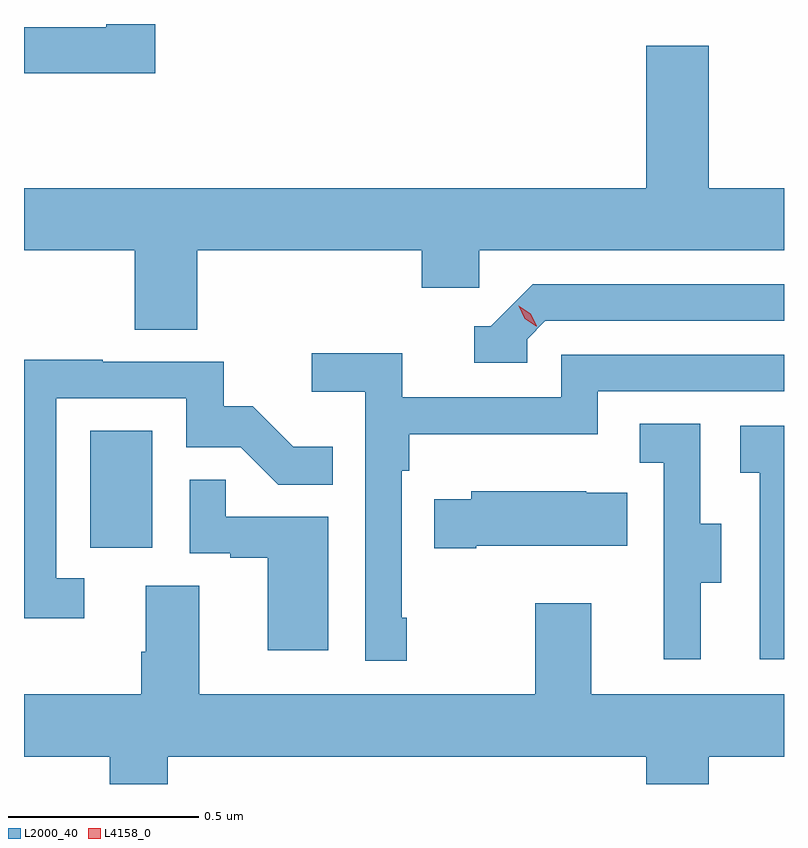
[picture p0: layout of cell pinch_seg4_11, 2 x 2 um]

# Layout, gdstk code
import gdstk
lib = gdstk.Library(unit=1e-6, precision=1e-09)
def R(c, l, rs):  # rectangles x0, y0, x1, y1
    for r in rs: c.add(gdstk.rectangle(r[:2], r[2:], *l))
def P(c, l, *ps):  # polygons
    for p in ps: c.add(gdstk.Polygon(p, *l))
L2000_40 = (2000, 40)
L4158_0 = (4158, 0)

pinch_seg4_11 = lib.new_cell('pinch_seg4_11')
R(pinch_seg4_11, L2000_40, [(1098.608,814.686,1098.772,814.993)])
P(pinch_seg4_11, L2000_40, [(1098.779,816.064),(1098.651,816.064),(1098.651,816.055),(1098.434,816.055),(1098.434,815.934),(1098.779,815.934)],
  [(1098.89,815.468),(1099.481,815.468),(1099.481,815.37),(1099.632,815.37),(1099.632,815.468),(1100.434,815.468),(1100.434,815.632),(1100.236,815.632),(1100.236,816.007),(1100.072,816.007),(1100.072,815.632),(1098.434,815.632),(1098.434,815.468),(1098.725,815.468),(1098.725,815.26),(1098.89,815.26)],
  [(1099.758,815.235),(1099.806,815.283),(1100.434,815.283),(1100.434,815.379),(1099.773,815.379),(1099.662,815.268),(1099.619,815.268),(1099.619,815.172),(1099.758,815.172)],
  [(1099.441,814.501),(1099.428,814.501),(1099.428,814.889),(1099.448,814.889),(1099.448,814.985),(1099.944,814.985),(1099.944,815.097),(1100.434,815.097),(1100.434,815.193),(1099.848,815.193),(1099.848,815.082),(1099.43,815.082),(1099.43,815.198),(1099.191,815.198),(1099.191,815.096),(1099.332,815.096),(1099.332,814.389),(1099.441,814.389)],
  [(1098.592,814.605),(1098.519,814.605),(1098.519,815.079),(1098.861,815.079),(1098.861,814.95),(1099.005,814.95),(1099.103,814.852),(1099.247,814.852),(1099.247,814.951),(1099.143,814.951),(1099.036,815.058),(1098.96,815.058),(1098.96,815.175),(1098.641,815.175),(1098.641,815.18),(1098.434,815.18),(1098.434,814.5),(1098.592,814.5)],
  [(1100.215,814.594),(1100.269,814.594),(1100.269,814.749),(1100.214,814.749),(1100.214,815.012),(1100.055,815.012),(1100.055,814.909),(1100.118,814.909),(1100.118,814.605),(1100.117,814.605),(1100.117,814.392),(1100.215,814.392)],
  [(1100.434,815.007),(1100.319,815.007),(1100.319,814.883),(1100.37,814.883),(1100.37,814.392),(1100.434,814.392)],
  [(1099.234,814.767),(1098.965,814.767),(1098.965,814.865),(1098.87,814.865),(1098.87,814.671),(1098.977,814.671),(1098.977,814.659),(1099.076,814.659),(1099.076,814.416),(1099.234,814.416)],
  [(1099.624,814.691),(1100.021,814.691),(1100.021,814.831),(1099.913,814.831),(1099.913,814.834),(1099.611,814.834),(1099.611,814.813),(1099.513,814.813),(1099.513,814.684),(1099.624,814.684)],
  [(1098.812,814.136),(1100.072,814.136),(1100.072,814.064),(1100.236,814.064),(1100.236,814.136),(1100.434,814.136),(1100.434,814.3),(1099.927,814.3),(1099.927,814.54),(1099.78,814.54),(1099.78,814.3),(1098.895,814.3),(1098.895,814.586),(1098.755,814.586),(1098.755,814.412),(1098.743,814.412),(1098.743,814.3),(1098.434,814.3),(1098.434,814.136),(1098.659,814.136),(1098.659,814.064),(1098.812,814.064)])
P(pinch_seg4_11, L4158_0, [(1099.782,815.269),(1099.752,815.289),(1099.736,815.322),(1099.736,815.323),(1099.736,815.323),(1099.767,815.302),(1099.783,815.269),(1099.783,815.269)])

lib.write_gds('pinch_seg4_11.gds')
